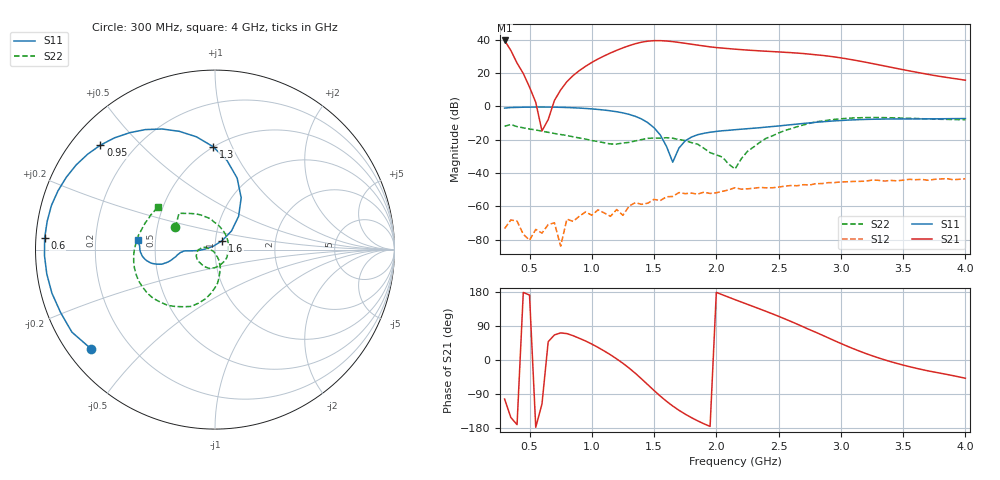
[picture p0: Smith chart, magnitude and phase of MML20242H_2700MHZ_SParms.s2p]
! Copyright - Freescale Semiconductor, Inc. 2011
! 08/26/2011
! Rev. 0
! MML20242H S-Parameters de-embedded to package pins using datasheet 2535 MHz application circuit (PCB=QFN 3x3 12E Rev. 0)
! Vdd=5V, Idd=165mA, L1=Coilcraft 0402HP-2N7X_L_, L3=Coilcraft 0402CS-1N0X_L_, C5=Murata GJM1555C1H180GB01, C8=Murata GRM1555C1H180JA01, R1 NOT PLACED
! R2=RC0402FR-071k2RL, R3=RC0402FR-071k2RL, C10= Murata GRM155R61A104K01, C11=Murata GRM1555C1H180JA01, C12=Murata GRM1555C1H180JA01, C13=Murata GRM155R61A104K01
! Reference Plane: RF input and output pins at edge of package body.
# hz S ma R 50
! freq  magS11  angS11  magS21  angS21  magS12  angS12  magS22  angS22
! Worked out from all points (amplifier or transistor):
!   75 points, 300 MHz to 4 GHz, reference 50 ohm
!   highest |S21| = 39.5 dB at 300 MHz (marker M1)
!   |S21| within 3 dB of that: 1.305 GHz to 1.87 GHz (565.2 MHz wide, 35.6 % of centre)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
!   unconditionally stable (mu >= 1): start of sweep to end of sweep
!   at 900 MHz: K = 17.64, MAG = 28.2 dB, |S12| = -65.9 dB
!   at 2.15 GHz: K = 2.65, MAG = 34.5 dB, |S12| = -48.8 dB
!   at 4 GHz: K = 8.34, MAG = 17.3 dB, |S12| = -43.4 dB
!   S11 on the Smith chart (normalised r, x): 300 MHz: 0.07, -0.35; 600 MHz: 0.02, +0.03; 950 MHz: 0.08, +0.38; 1.3 GHz: 0.50, +0.85; 1.6 GHz: 1.08, +0.11; 4 GHz: 0.40, +0.05
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3e8  0.8847 -141.3  94.41 -103.1  0.0002166 99.7  0.2528 150.8
3.5e8  0.9204 -150.0  47.47 -151.7  0.0003924 35.7  0.2849 134.8
4e8  0.9289 -157.8  19.81 -170.5  0.0003614 127.7  0.2464 125.2
5e8  0.947 -171.7  3.784 171.4  9.71e-05 37.2  0.2091 112.5
6e8  0.9514 176.2  0.1834 -116.1  0.0001579 134.9  0.1801 101.5
9.5e8  0.864 137.7  15.83 50.2  0.0006835 -168.9  0.1045 57.1
1.15e9  0.7337 113.7  39.73 13.8  0.0005026 178.7  0.07425 7.4
1.25e9  0.6366 99.3  56.6 -8.7  0.0005402 172.4  0.07933 -33.5
1.3e9  0.5739 91.1  66.02 -21.4  0.001027 165.0  0.08318 -50.9
1.4e9  0.4171 72.8  83.83 -49.9  0.001154 160.6  0.1008 -90.6
1.5e9  0.2277 54.7  93.06 -80.5  0.001628 158.7  0.1125 -123.7
1.55e9  0.1385 48.5  93.21 -95.2  0.001492 158.1  0.1109 -136.0
1.6e9  0.06293 51.2  90.94 -108.9  0.001942 149.7  0.1146 -148.4
1.7e9  0.05622 177.2  82.36 -132.7  0.002599 145.5  0.1009 -172.8
1.8e9  0.1196 -176.9  72.85 -152.1  0.002507 141.0  0.08181 176.0
1.95e9  0.1672 -177.6  60.7 -175.3  0.002441 128.0  0.04079 170.4
2.15e9  0.199 -174.1  51.76 159.3  0.003629 121.6  0.01324 -118.8
2.5e9  0.2577 -165.9  42.77 115.3  0.003789 114.5  0.1583 -81.9
2.8e9  0.3331 -165.9  35.06 73.0  0.004815 103.0  0.343 -112.6
3.05e9  0.3855 -170.8  26.46 36.6  0.005489 90.2  0.4387 -141.9
3.4e9  0.417 -179.0  14.89 -4.4  0.006012 82.0  0.4544 -175.9
4e9  0.4305 172.7  6.068 -48.2  0.006727 63.5  0.3974 143.4
